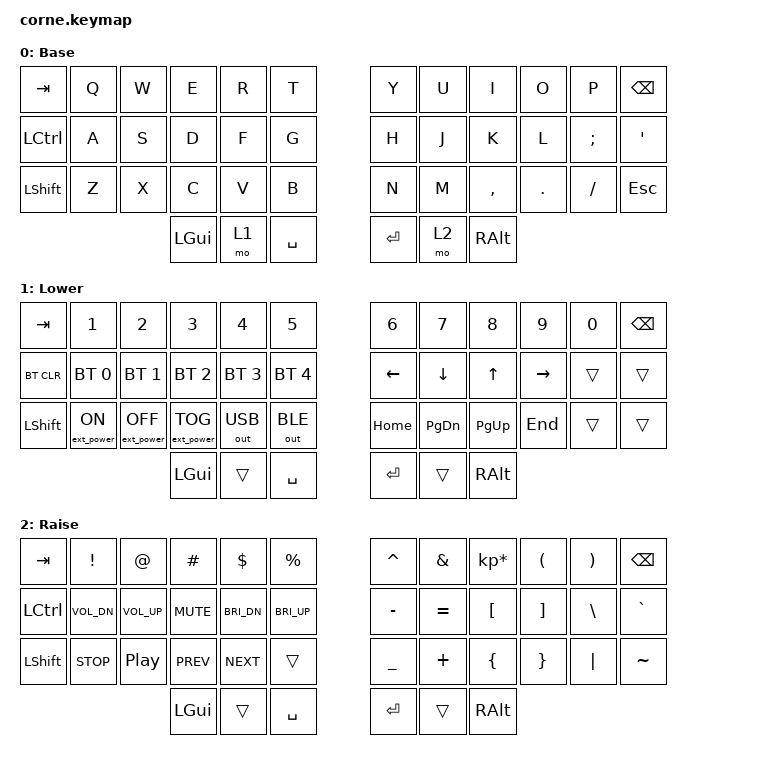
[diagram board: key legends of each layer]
/*
 * Copyright (c) 2020 The ZMK Contributors
 *
 * SPDX-License-Identifier: MIT
 */

#include <behaviors.dtsi>
#include <dt-bindings/zmk/keys.h>
#include <dt-bindings/zmk/bt.h>
#include <dt-bindings/zmk/ext_power.h>
#include <dt-bindings/zmk/outputs.h>


/ {
        keymap {
                compatible = "zmk,keymap";

                default_layer {
// -----------------------------------------------------------------------------------------
// |  TAB |  Q  |  W  |  E  |  R  |  T  |   |  Y  |  U   |  I  |  O  |  P  | BKSP |
// | CTRL |  A  |  S  |  D  |  F  |  G  |   |  H  |  J   |  K  |  L  |  ;  |  '   |
// | SHFT |  Z  |  X  |  C  |  V  |  B  |   |  N  |  M   |  ,  |  .  |  /  | ESC  |
//                    | GUI | LWR | SPC |   | ENT | RSE  | ALT |
                        display-name = "Base";
                        bindings = <
   &kp TAB   &kp Q &kp W &kp E &kp R &kp T   &kp Y &kp U  &kp I     &kp O   &kp P    &kp BSPC
   &kp LCTRL &kp A &kp S &kp D &kp F &kp G   &kp H &kp J  &kp K     &kp L   &kp SEMI &kp SQT
   &kp LSHFT &kp Z &kp X &kp C &kp V &kp B   &kp N &kp M  &kp COMMA &kp DOT &kp FSLH &kp ESC
                  &kp LGUI &mo 1 &kp SPACE   &kp RET &mo 2 &kp RALT
                        >;
                };
                lower_layer {
// -----------------------------------------------------------------------------------------
// |  TAB |  1  |  2  |  3  |  4  |  5  |   |  6  |  7  |  8  |  9  |  0  | BKSP |
// | BTCLR| BT1 | BT2 | BT3 | BT4 | BT5 |   | LFT | DWN |  UP | RGT |     |      |
// | SHFT |EPON |EPOFF|EPTOG| USB | BLE |   | <<- | vv  | ^^  | ->> |     |      |
//                    | GUI |     | SPC |   | ENT |     | ALT |
                        display-name = "Lower";
                        bindings = <
   &kp TAB    &kp N1       &kp N2       &kp N3       &kp N4       &kp N5         &kp N6   &kp N7   &kp N8 &kp N9    &kp N0 &kp BSPC
   &bt BT_CLR &bt BT_SEL 0 &bt BT_SEL 1 &bt BT_SEL 2 &bt BT_SEL 3 &bt BT_SEL 4   &kp LEFT &kp DOWN  &kp UP    &kp RIGHT &trans &trans
   &kp LSHFT  &ext_power EP_ON  &ext_power EP_OFF &ext_power EP_TOG  &out OUT_USB &out OUT_BLE         &kp HOME &kp PG_DN &kp PG_UP &kp END   &trans &trans
                          	        &kp LGUI     &trans       &kp SPACE      &kp RET  &trans   &kp RALT
                        >;
                };

                raise_layer {
// -----------------------------------------------------------------------------------------
// |  TAB |  !  |  @  |  #  |  $  |  %  |   |  ^  |  &  |  *  |  (  |  )  | BKSP |
// | CTRL |VolD |VolU |Mute |BRiD |BriU |   |  -  |  =  |  [  |  ]  |  \  |  `   |
// | SHFT |MStop|MPlay|MStop|MNext|     |   |  _  |  +  |  {  |  }  | "|" |  ~   |
//                    | GUI |     | SPC |   | ENT |     | ALT |
                        display-name = "Raise";
                        bindings = <
   &kp  TAB  &kp EXCL &kp AT &kp HASH &kp DLLR &kp PRCNT   &kp CARET &kp AMPS  &kp KP_MULTIPLY &kp LPAR &kp RPAR &kp BSPC
   &kp LCTRL &kp C_VOL_DN &kp C_VOL_UP &kp C_MUTE   &kp C_BRI_DN   &kp C_BRI_UP      &kp MINUS &kp EQUAL &kp LBKT        &kp RBKT &kp BSLH &kp GRAVE
   &kp LSHFT &kp C_STOP   &kp C_PP &kp C_PREV   &kp C_NEXT   &trans      &kp UNDER &kp PLUS  &kp LBRC        &kp RBRC &kp PIPE &kp TILDE
                    	     &kp LGUI &trans   &kp SPACE   &kp RET   &trans    &kp RALT
                        >;
                };
        };
};
